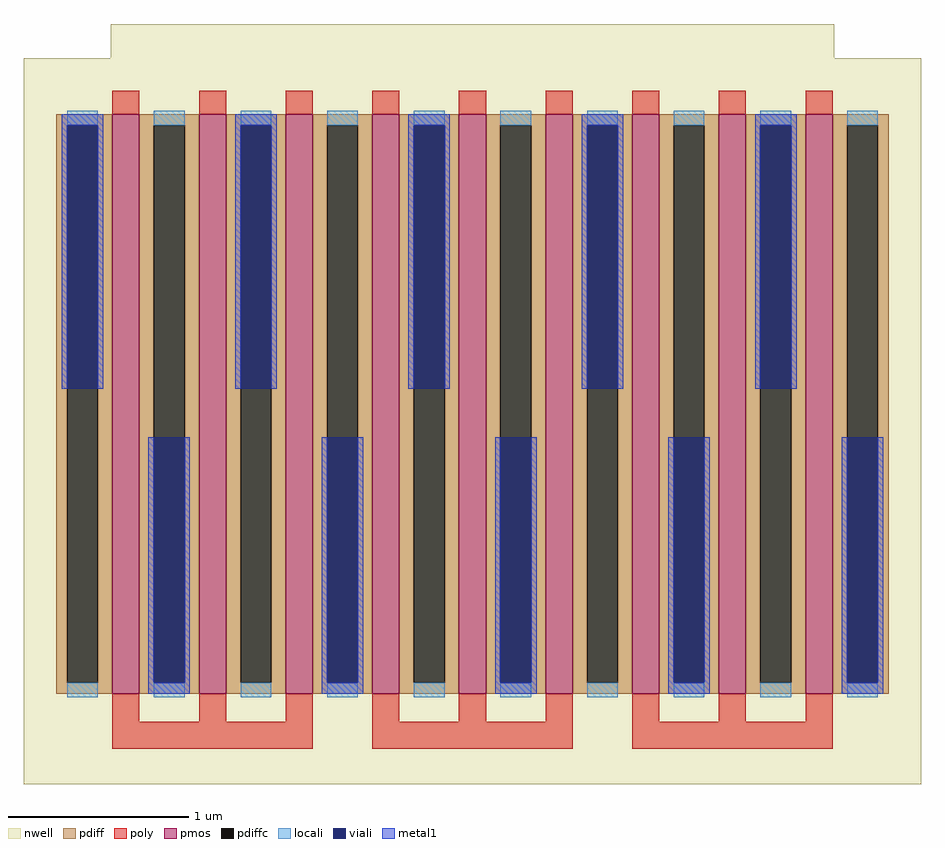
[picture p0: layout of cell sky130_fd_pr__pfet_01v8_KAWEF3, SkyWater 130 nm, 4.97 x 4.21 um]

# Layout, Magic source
magic
tech sky130B
magscale 1 2
<< nwell >>
rect -401 383 401 421
rect -497 -421 497 383
<< pmos >>
rect -399 -321 -369 321
rect -303 -321 -273 321
rect -207 -321 -177 321
rect -111 -321 -81 321
rect -15 -321 15 321
rect 81 -321 111 321
rect 177 -321 207 321
rect 273 -321 303 321
rect 369 -321 399 321
<< pdiff >>
rect -461 309 -399 321
rect -461 -309 -449 309
rect -415 -309 -399 309
rect -461 -321 -399 -309
rect -369 309 -303 321
rect -369 -309 -353 309
rect -319 -309 -303 309
rect -369 -321 -303 -309
rect -273 309 -207 321
rect -273 -309 -257 309
rect -223 -309 -207 309
rect -273 -321 -207 -309
rect -177 309 -111 321
rect -177 -309 -161 309
rect -127 -309 -111 309
rect -177 -321 -111 -309
rect -81 309 -15 321
rect -81 -309 -65 309
rect -31 -309 -15 309
rect -81 -321 -15 -309
rect 15 309 81 321
rect 15 -309 31 309
rect 65 -309 81 309
rect 15 -321 81 -309
rect 111 309 177 321
rect 111 -309 127 309
rect 161 -309 177 309
rect 111 -321 177 -309
rect 207 309 273 321
rect 207 -309 223 309
rect 257 -309 273 309
rect 207 -321 273 -309
rect 303 309 369 321
rect 303 -309 319 309
rect 353 -309 369 309
rect 303 -321 369 -309
rect 399 309 461 321
rect 399 -309 415 309
rect 449 -309 461 309
rect 399 -321 461 -309
<< pdiffc >>
rect -449 -309 -415 309
rect -353 -309 -319 309
rect -257 -309 -223 309
rect -161 -309 -127 309
rect -65 -309 -31 309
rect 31 -309 65 309
rect 127 -309 161 309
rect 223 -309 257 309
rect 319 -309 353 309
rect 415 -309 449 309
<< poly >>
rect -399 321 -369 347
rect -303 321 -273 347
rect -207 321 -177 347
rect -111 321 -81 347
rect -15 321 15 347
rect 81 321 111 347
rect 177 321 207 347
rect 273 321 303 347
rect 369 321 399 347
rect -399 -352 -369 -321
rect -303 -352 -273 -321
rect -207 -352 -177 -321
rect -399 -382 -177 -352
rect -111 -352 -81 -321
rect -15 -352 15 -321
rect 81 -352 111 -321
rect -111 -382 111 -352
rect 177 -352 207 -321
rect 273 -352 303 -321
rect 369 -352 399 -321
rect 177 -382 399 -352
<< locali >>
rect -449 309 -415 325
rect -449 -325 -415 -309
rect -353 309 -319 325
rect -353 -325 -319 -309
rect -257 309 -223 325
rect -257 -325 -223 -309
rect -161 309 -127 325
rect -161 -325 -127 -309
rect -65 309 -31 325
rect -65 -325 -31 -309
rect 31 309 65 325
rect 31 -325 65 -309
rect 127 309 161 325
rect 127 -325 161 -309
rect 223 309 257 325
rect 223 -325 257 -309
rect 319 309 353 325
rect 319 -325 353 -309
rect 415 309 449 325
rect 415 -325 449 -309
<< viali >>
rect -449 17 -415 309
rect -353 -309 -319 -37
rect -257 17 -223 309
rect -161 -309 -127 -37
rect -65 17 -31 309
rect 31 -309 65 -37
rect 127 17 161 309
rect 223 -309 257 -37
rect 319 17 353 309
rect 415 -309 449 -37
<< metal1 >>
rect -455 309 -409 321
rect -455 17 -449 309
rect -415 17 -409 309
rect -263 309 -217 321
rect -263 17 -257 309
rect -223 17 -217 309
rect -71 309 -25 321
rect -71 17 -65 309
rect -31 17 -25 309
rect 121 309 167 321
rect 121 17 127 309
rect 161 17 167 309
rect 313 309 359 321
rect 313 17 319 309
rect 353 17 359 309
rect -359 -309 -353 -37
rect -319 -309 -313 -37
rect -359 -321 -313 -309
rect -167 -309 -161 -37
rect -127 -309 -121 -37
rect -167 -321 -121 -309
rect 25 -309 31 -37
rect 65 -309 71 -37
rect 25 -321 71 -309
rect 217 -309 223 -37
rect 257 -309 263 -37
rect 217 -321 263 -309
rect 409 -309 415 -37
rect 449 -309 455 -37
rect 409 -321 455 -309
<< properties >>
string gencell sky130_fd_pr__pfet_01v8
string library sky130
string parameters w 3.21 l 0.15 m 1 nf 9 diffcov 100 polycov 100 guard 0 glc 1 grc 1 gtc 1 gbc 1 tbcov 100 rlcov 100 topc 1 botc 1 poverlap 0 doverlap 1 lmin 0.15 wmin 0.42 compatible {sky130_fd_pr__pfet_01v8  sky130_fd_pr__pfet_01v8_lvt sky130_fd_pr__pfet_01v8_hvt  sky130_fd_pr__pfet_g5v0d10v5} full_metal 1 viasrc 100 viadrn 100 viagate 100 viagb 0 viagr 0 viagl 0 viagt 0
<< end >>
